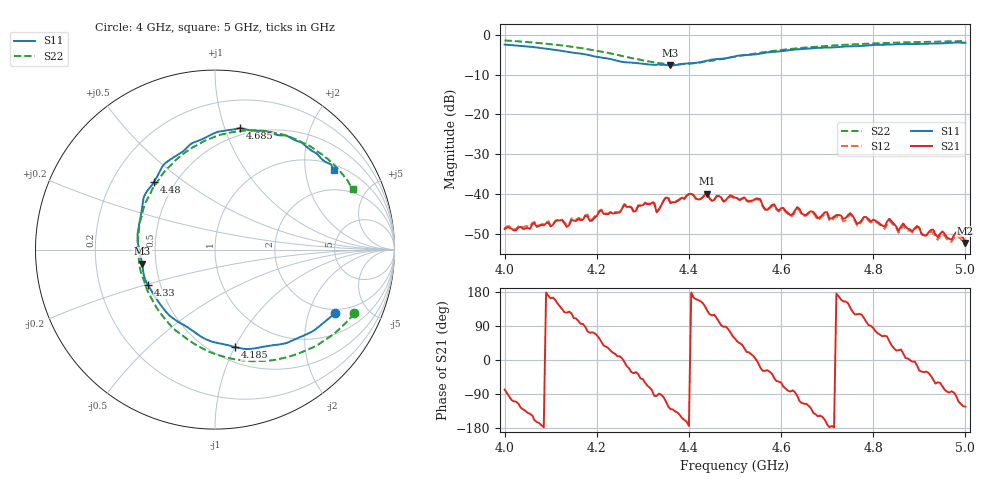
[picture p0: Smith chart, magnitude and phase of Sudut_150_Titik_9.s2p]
# Hz S RI R 50
! CMT, C1220, 16058040, 17.2.0/1
! Date: 15/08/2018 11:33:19
! Data: Format (Calibration Info)
! Freq  S11: Re/Im (F2)  S21: Re/Im (F2)  S12: Re/Im (F2)  S22: Re/Im (F2)
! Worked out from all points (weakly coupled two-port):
!   201 points, 4 GHz to 5 GHz, reference 50 ohm
!   highest |S21| = -39.89 dB at 4.44 GHz (marker M1); lowest = -52.3 dB at 5 GHz (marker M2)
!   lowest |S11| = -7.7 dB at 4.36 GHz (marker M3), VSWR 2.41, Z = 20.9 - j3.95 ohm
!   |S11| at or under -10 dB: nowhere
!   |S22| runs from -7.4 to -1.4 dB; largest |S21 - S12| = 0.0004
!   S11 on the Smith chart (normalised r, x): 4 GHz: 1.80, -2.99; 4.185 GHz: 0.64, -1.00; 4.33 GHz: 0.43, -0.21; 4.48 GHz: 0.38, +0.39; 4.685 GHz: 0.44, +1.13; 5 GHz: 1.16, +2.85
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4e9  0.6662 -0.3558  0.00076 -0.00356  0.000905 -0.00359  0.7748 -0.355
4.17e9  0.1648 -0.5535  -0.00042 0.00474  -0.000535 0.00488  0.2742 -0.62
4.185e9  0.1118 -0.5431  0.00144 0.00436  0.00146 0.00456  0.2105 -0.6219
4.26e9  -0.1733 -0.4203  0.00731 -0.000719  0.00749 -0.000699  -0.1179 -0.5238
4.32e9  -0.3519 -0.2335  0.00126 -0.00773  0.00122 -0.00794  -0.3323 -0.3118
4.33e9  -0.3731 -0.1987  -0.000494 -0.00587  -0.000546 -0.00598  -0.3563 -0.2694
4.335e9  -0.383 -0.181  0.00011 -0.00638  6.7e-05 -0.00642  -0.3686 -0.2457
4.35e9  -0.4001 -0.1217  -0.003 -0.00852  -0.0031 -0.00858  -0.3963 -0.1716
4.36e9  -0.4057 -0.0783  -0.0049 -0.0059  -0.00505 -0.00589  -0.4132 -0.1251
4.44e9  -0.4033 0.2523  -0.00645 0.0078  -0.00629 0.00781  -0.3869 0.2619
4.48e9  -0.3404 0.3762  0.000252 0.0084  0.000469 0.00824  -0.3006 0.4099
4.5e9  -0.3022 0.4461  0.00499 0.00751  0.00487 0.00733  -0.2458 0.471
4.67e9  0.1122 0.6708  -0.00454 -0.00384  -0.0044 -0.00366  0.2479 0.6635
4.685e9  0.1411 0.6761  -0.00429 -0.00282  -0.00416 -0.00267  0.2846 0.6595
4.75e9  0.2876 0.6591  -0.00429 0.00383  -0.0042 0.00362  0.4333 0.6205
4.765e9  0.3203 0.6472  -0.00215 0.00362  -0.00204 0.00346  0.4627 0.6098
4.785e9  0.3687 0.636  -0.000924 0.00503  -0.000998 0.00487  0.501 0.5908
4.825e9  0.4269 0.6188  0.0017 0.00349  0.00165 0.00325  0.568 0.5499
4.835e9  0.4457 0.6093  0.00319 0.00371  0.00295 0.00356  0.5825 0.5393
4.855e9  0.4778 0.5982  0.00309 0.00149  0.00292 0.00143  0.6123 0.5168
4.895e9  0.5354 0.5533  0.00383 -0.000975  0.00374 -0.000814  0.6648 0.4714
5e9  0.6617 0.4453  -0.00133 -0.00203  -0.00111 -0.00191  0.7683 0.3369
